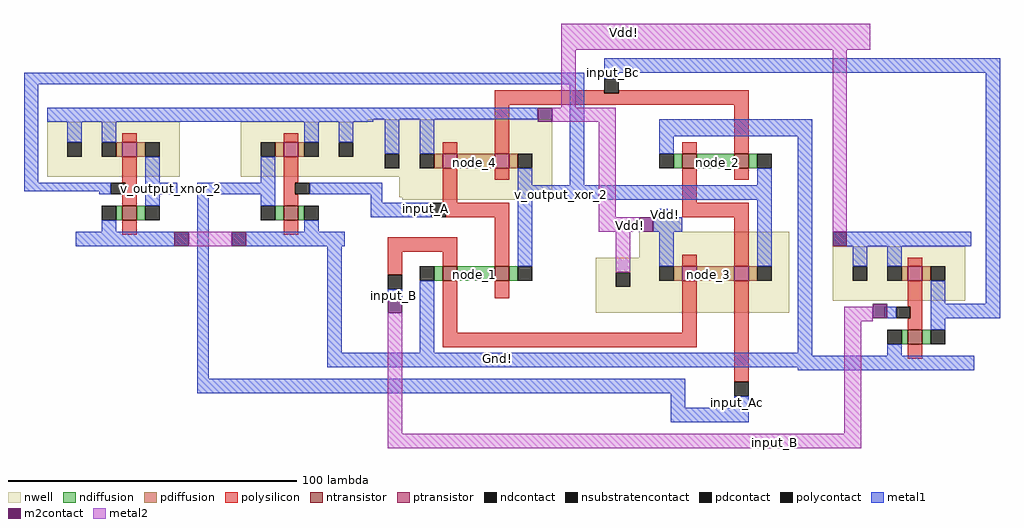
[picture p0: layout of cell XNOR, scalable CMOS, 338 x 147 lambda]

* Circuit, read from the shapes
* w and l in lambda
.subckt XNOR Gnd! Vdd! input_A input_Ac input_B input_Bc node_1 node_2 node_3 node_4 v_output_xnor_2 v_output_xor_2
M1 v_output_xnor_2 v_output_xor_2 Gnd! VSUBS nfet w=5 l=5
M2 Gnd! input_A input_Ac VSUBS nfet w=5 l=5
M3 node_1 input_B Gnd! VSUBS nfet w=5 l=5
M4 v_output_xor_2 input_A node_1 VSUBS nfet w=5 l=5
M5 node_2 input_Ac Gnd! VSUBS nfet w=5 l=5
M6 v_output_xor_2 input_Bc node_2 VSUBS nfet w=5 l=5
M7 input_Bc input_B Gnd! VSUBS nfet w=5 l=5
M8 v_output_xnor_2 v_output_xor_2 Vdd! Vdd! pfet w=5 l=5
M9 Vdd! input_A input_Ac Vdd! pfet w=5 l=5
M10 node_4 input_A Vdd! Vdd! pfet w=5 l=5
M11 v_output_xor_2 input_Bc node_4 Vdd! pfet w=5 l=5
M12 node_3 input_B Vdd! n1 pfet w=5 l=5
M13 v_output_xor_2 input_Ac node_3 n1 pfet w=5 l=5
M14 input_Bc input_B Vdd! Vdd! pfet w=5 l=5
.ends

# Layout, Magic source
magic
tech scmos
<< nwell >>
rect -60 14 4 34
rect -49 7 4 14
rect -48 6 4 7
rect 34 -5 49 0
rect 34 -14 86 -5
rect 19 -33 86 -14
<< ntransistor >>
rect 49 17 54 22
rect 67 17 72 22
rect -34 -22 -29 -17
rect -16 -22 -11 -17
<< ptransistor >>
rect -34 17 -29 22
rect -16 17 -11 22
rect 49 -22 54 -17
rect 67 -22 72 -17
<< ndiffusion >>
rect 46 17 49 22
rect 54 17 67 22
rect 72 17 75 22
rect -37 -22 -34 -17
rect -29 -22 -16 -17
rect -11 -22 -8 -17
<< pdiffusion >>
rect -37 17 -34 22
rect -29 17 -16 22
rect -11 17 -8 22
rect 46 -22 49 -17
rect 54 -22 67 -17
rect 72 -22 75 -17
<< ndcontact >>
rect 41 17 46 22
rect 75 17 80 22
rect -42 -22 -37 -17
rect -8 -22 -3 -17
<< pdcontact >>
rect -42 17 -37 22
rect -8 17 -3 22
rect 41 -22 46 -17
rect 75 -22 80 -17
<< nsubstratencontact >>
rect -54 17 -49 22
rect 26 -24 31 -19
<< polysilicon >>
rect -16 43 22 44
rect 27 43 72 44
rect -16 39 72 43
rect -34 22 -29 26
rect -16 22 -11 39
rect 49 22 54 26
rect 67 22 72 39
rect -34 5 -29 17
rect -16 13 -11 17
rect 49 5 54 17
rect 67 13 72 17
rect -33 0 -11 5
rect 49 0 72 5
rect -53 -12 -29 -7
rect -53 -20 -48 -12
rect -34 -17 -29 -12
rect -16 -17 -11 0
rect 49 -17 54 -13
rect 67 -17 72 0
rect -34 -40 -29 -22
rect -16 -28 -11 -22
rect 49 -40 54 -22
rect -34 -45 54 -40
rect 67 -57 72 -22
<< polycontact >>
rect 22 43 27 48
rect -38 0 -33 5
rect -53 -25 -48 -20
rect 67 -62 72 -57
<< metal1 >>
rect 22 50 159 55
rect -179 46 15 50
rect -179 12 -174 46
rect -123 33 -106 38
rect -60 34 -1 38
rect -54 22 -49 34
rect -42 22 -37 34
rect -179 9 -153 12
rect -129 8 -126 12
rect -119 8 -100 12
rect -76 8 -55 12
rect -119 -56 -115 8
rect -59 5 -55 8
rect -8 11 -3 17
rect 10 11 15 46
rect 22 48 27 50
rect 41 28 94 34
rect 41 22 46 28
rect 75 11 80 17
rect -8 6 80 11
rect -59 0 -38 5
rect -74 -47 -69 -5
rect -8 -17 -3 6
rect 41 0 44 3
rect 39 -5 49 0
rect -53 -28 -48 -25
rect 41 -17 46 -5
rect -42 -47 -37 -22
rect 75 -17 80 6
rect 89 -47 94 28
rect 109 -7 116 -5
rect 154 -30 159 50
rect 140 -35 159 -30
rect -74 -48 94 -47
rect -74 -52 111 -48
rect 89 -53 111 -52
rect -119 -61 50 -56
rect 45 -66 50 -61
rect 67 -66 72 -62
rect 45 -71 72 -66
<< m2contact >>
rect -1 33 4 38
rect -127 -10 -122 -5
rect -107 -10 -102 -5
rect 34 -5 39 0
rect -53 -33 -48 -28
rect 101 -10 106 -5
rect 115 -35 120 -30
<< metal2 >>
rect 7 58 114 67
rect 7 38 12 58
rect 4 33 26 38
rect 20 0 26 33
rect 20 -5 34 0
rect 101 -5 106 58
rect -122 -10 -107 -5
rect 26 -19 31 -5
rect -53 -75 -48 -33
rect 105 -36 115 -31
rect 105 -75 111 -36
rect -53 -80 111 -75
use not_without_labels  not_without_labels_2
transform 1 0 -155 0 1 2
box -16 -12 33 36
use not_without_labels  not_without_labels_0
transform -1 0 -74 0 1 2
box -16 -12 33 36
use not_without_labels  not_without_labels_1
transform 1 0 117 0 1 -41
box -16 -12 33 36
<< labels >>
rlabel metal1 -40 3 -40 3 1 input_A
rlabel metal1 -51 -27 -51 -27 3 input_B
rlabel metal1 -15 -49 -15 -49 1 Gnd!
rlabel metal1 25 50 25 50 5 input_Bc
rlabel metal1 68 -64 68 -64 1 input_Ac
rlabel ndiffusion -23 -20 -23 -20 1 node_1
rlabel ndiffusion 61 19 61 19 1 node_2
rlabel pdiffusion 58 -20 58 -20 1 node_3
rlabel pdiffusion -23 19 -23 19 1 node_4
rlabel metal2 81 -78 81 -78 1 input_B
rlabel metal2 31 -3 31 -3 1 Vdd!
rlabel metal2 29 64 29 64 5 Vdd!
rlabel metal1 43 1 43 1 1 Vdd!
rlabel metal1 -128 10 -128 10 1 v_output_xnor_2
rlabel metal1 7 8 7 8 1 v_output_xor_2
<< end >>

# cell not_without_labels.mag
magic
tech scmos
<< nwell >>
rect -16 12 30 31
<< ntransistor >>
rect 10 -3 15 2
<< ptransistor >>
rect 10 19 15 24
<< ndiffusion >>
rect 8 -3 10 2
rect 15 -3 18 2
<< pdiffusion >>
rect 8 19 10 24
rect 15 19 18 24
<< ndcontact >>
rect 3 -3 8 2
rect 18 -3 23 2
<< pdcontact >>
rect 3 19 8 24
rect 18 19 23 24
<< nsubstratencontact >>
rect -9 19 -4 24
<< polysilicon >>
rect 10 24 15 27
rect 10 10 15 19
rect 11 6 15 10
rect 10 2 15 6
rect 10 -8 15 -3
<< polycontact >>
rect 6 6 11 10
<< metal1 >>
rect -16 31 32 36
rect -9 24 -4 31
rect 3 24 8 31
rect 18 10 23 19
rect 2 6 6 10
rect 18 6 26 10
rect 18 2 23 6
rect 3 -7 8 -3
rect -6 -12 33 -7
<< end >>
